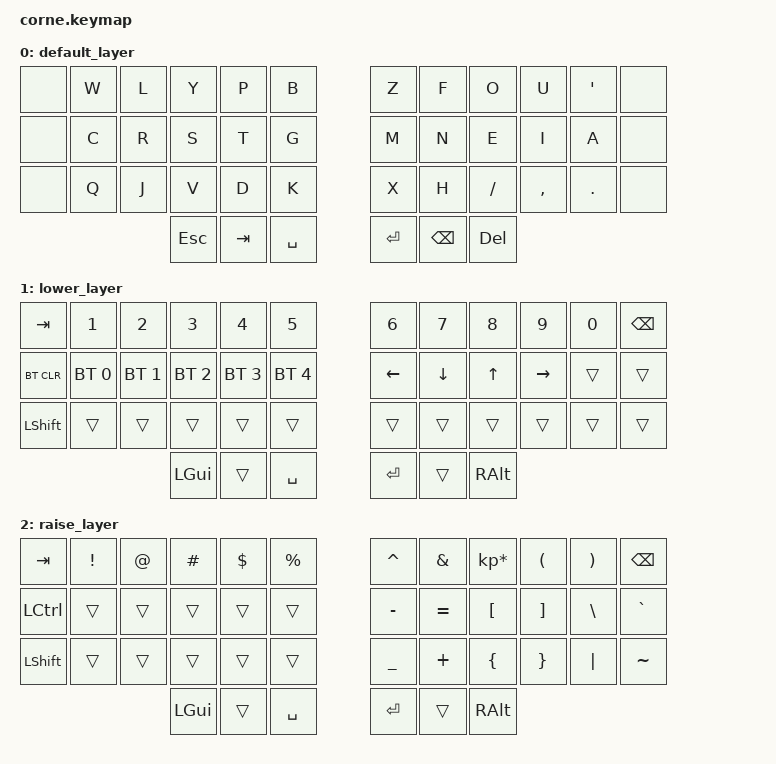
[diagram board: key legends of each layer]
/*
 * Copyright (c) 2020 The ZMK Contributors
 *
 * SPDX-License-Identifier: MIT
 */

#include <behaviors.dtsi>
#include <dt-bindings/zmk/keys.h>
#include <dt-bindings/zmk/bt.h>

/ {
        keymap {
                compatible = "zmk,keymap";

                default_layer {
// -----------------------------------------------------------------------------------------
// | NONE |  W  |  L  |  Y  |  P  |  B  |   |  Z  |  F   |  O  |  U  |  '  | NONE |
// | NONE |  C  |  R  |  S  |  T  |  G  |   |  M  |  N   |  E  |  I  |  A  | NONE |
// | NONE |  Q  |  J  |  V  |  D  |  K  |   |  X  |  H   |  /  |  ,  |  .  | NONE |
//                    | ESC | TAB | SPC |   | ENT | BSPC | DEL |
                        bindings = <
   &none &kp W &kp L &kp Y &kp P &kp B   &kp Z &kp F  &kp O     &kp U     &kp SQT &none
   &none &kp C &kp R &kp S &kp T &kp G   &kp M &kp N  &kp E     &kp I     &kp A   &none
   &none &kp Q &kp J &kp V &kp D &kp K   &kp X &kp H  &kp FSLH  &kp COMMA &kp DOT &none
             &kp ESC &kp TAB &kp SPACE   &kp RET &kp BSPC &kp DEL
                        >;
                };
                lower_layer {
// -----------------------------------------------------------------------------------------
// | NONE |  1  |  2  |  3  |  4  |  5  |   |  6  |  7  |  8  |  9  |  0  | NONE |
// | NONE | BT1 | BT2 | BT3 | BT4 | BT5 |   | LFT | DWN |  UP | RGT |     | NONE |
// | NONE |     |     |     |     |     |   |     |     |     |     |     | NONE |
//                    | GUI |     | SPC |   | ENT |     | ALT |
                        bindings = <
   &kp TAB    &kp N1       &kp N2       &kp N3       &kp N4       &kp N5         &kp N6   &kp N7   &kp N8 &kp N9    &kp N0 &kp BSPC
   &bt BT_CLR &bt BT_SEL 0 &bt BT_SEL 1 &bt BT_SEL 2 &bt BT_SEL 3 &bt BT_SEL 4   &kp LEFT &kp DOWN &kp UP &kp RIGHT &trans &trans
   &kp LSHFT  &trans       &trans       &trans       &trans       &trans         &trans   &trans   &trans &trans    &trans &trans
                          	        &kp LGUI     &trans       &kp SPACE      &kp RET  &trans   &kp RALT
                        >;
                };

                raise_layer {
// -----------------------------------------------------------------------------------------
// | NONE |  !  |  @  |  #  |  $  |  %  |   |  ^  |  &  |  *  |  (  |  )  | NONE |
// | NONE |     |     |     |     |     |   |  -  |  =  |  [  |  ]  |  \  | NONE |
// | NONE |     |     |     |     |     |   |  _  |  +  |  {  |  }  | "|" | NONE |
//                    | GUI |     | SPC |   | ENT |     | ALT |
                        bindings = <
   &kp  TAB  &kp EXCL &kp AT &kp HASH &kp DLLR &kp PRCNT   &kp CARET &kp AMPS  &kp KP_MULTIPLY &kp LPAR &kp RPAR &kp BSPC
   &kp LCTRL &trans   &trans &trans   &trans   &trans      &kp MINUS &kp EQUAL &kp LBKT        &kp RBKT &kp BSLH &kp GRAVE
   &kp LSHFT &trans   &trans &trans   &trans   &trans      &kp UNDER &kp PLUS  &kp LBRC        &kp RBRC &kp PIPE &kp TILDE
                    	     &kp LGUI &trans   &kp SPACE   &kp RET   &trans    &kp RALT
                        >;
                };
        };
};
